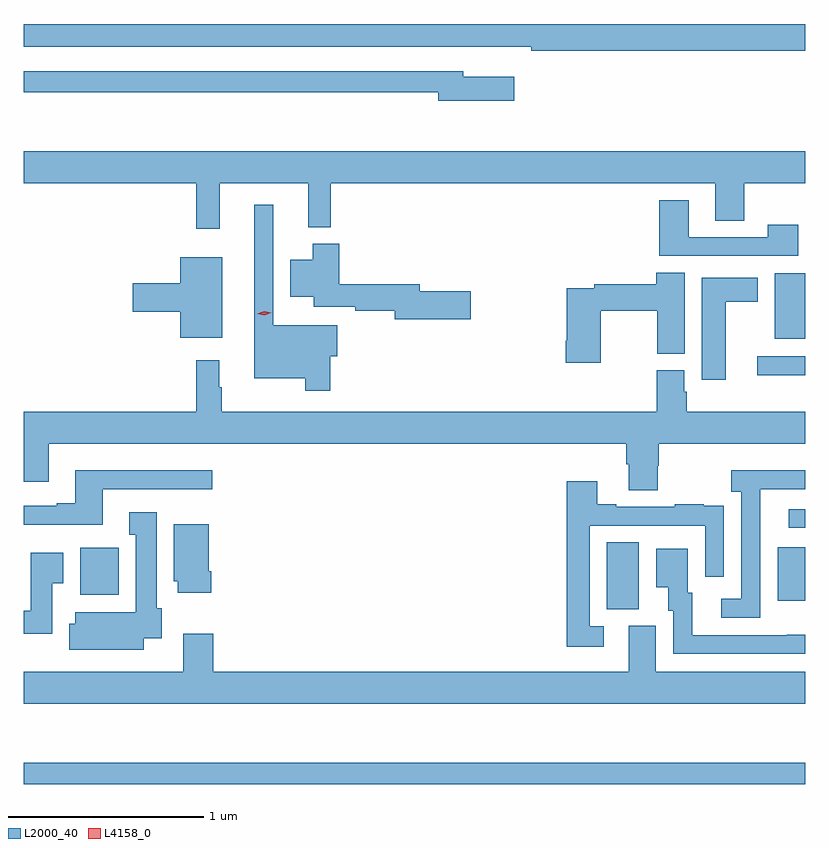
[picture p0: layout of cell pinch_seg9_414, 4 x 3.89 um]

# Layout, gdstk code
import gdstk
lib = gdstk.Library(unit=1e-6, precision=1e-09)
def R(c, l, rs):  # rectangles x0, y0, x1, y1
    for r in rs: c.add(gdstk.rectangle(r[:2], r[2:], *l))
def P(c, l, *ps):  # polygons
    for p in ps: c.add(gdstk.Polygon(p, *l))
L2000_40 = (2000, 40)
L4158_0 = (4158, 0)

pinch_seg9_414 = lib.new_cell('pinch_seg9_414')
R(pinch_seg9_414, L2000_40, [(217.835,1221.318,221.835,1221.427), (220.82,1222.213,220.984,1222.556), (221.693,1222.257,221.835,1222.531), (218.123,1222.286,218.32,1222.528), (221.751,1222.629,221.835,1222.725), (221.589,1223.411,221.835,1223.508), (221.678,1223.597,221.835,1223.932)])
P(pinch_seg9_414, L2000_40, [(221.835,1225.208),(217.835,1225.208),(217.835,1225.092),(220.18,1225.092),(220.18,1225.091),(220.432,1225.091),(220.432,1225.072),(221.835,1225.072)],
  [(220.345,1224.937),(220.084,1224.937),(220.084,1224.966),(217.835,1224.966),(217.835,1224.858),(219.956,1224.858),(219.956,1224.815),(220.345,1224.815)],
  [(218.837,1224.392),(219.29,1224.392),(219.29,1224.167),(219.407,1224.167),(219.407,1224.392),(221.375,1224.392),(221.375,1224.202),(221.523,1224.202),(221.523,1224.392),(221.835,1224.392),(221.835,1224.556),(217.835,1224.556),(217.835,1224.392),(218.719,1224.392),(218.719,1224.159),(218.837,1224.159)],
  [(221.8,1224.181),(221.644,1224.181),(221.644,1224.117),(221.239,1224.117),(221.239,1224.307),(221.087,1224.307),(221.087,1224.021),(221.8,1224.021)],
  [(219.404,1223.507),(219.439,1223.507),(219.439,1223.665),(219.111,1223.665),(219.111,1224.283),(219.014,1224.283),(219.014,1223.396),(219.276,1223.396),(219.276,1223.331),(219.404,1223.331)],
  [(220.123,1223.84),(219.862,1223.84),(219.862,1223.876),(219.449,1223.876),(219.449,1224.082),(219.314,1224.082),(219.314,1224.001),(219.2,1224.001),(219.2,1223.813),(219.32,1223.813),(219.32,1223.76),(219.532,1223.76),(219.532,1223.74),(219.734,1223.74),(219.734,1223.698),(220.123,1223.698)],
  [(218.851,1224.013),(218.636,1224.013),(218.636,1223.882),(218.394,1223.882),(218.394,1223.735),(218.636,1223.735),(218.636,1223.603),(218.851,1223.603)],
  [(220.788,1223.74),(221.077,1223.74),(221.077,1223.521),(221.218,1223.521),(221.218,1223.936),(221.072,1223.936),(221.072,1223.876),(220.756,1223.876),(220.756,1223.856),(220.615,1223.856),(220.615,1223.587),(220.61,1223.587),(220.61,1223.475),(220.788,1223.475)],
  [(221.428,1223.786),(221.593,1223.786),(221.593,1223.908),(221.306,1223.908),(221.306,1223.388),(221.428,1223.388)],
  [(221.079,1222.947),(221.084,1222.947),(221.084,1223.06),(221.835,1223.06),(221.835,1223.224),(221.228,1223.224),(221.228,1223.325),(221.215,1223.325),(221.215,1223.436),(221.075,1223.436),(221.075,1223.224),(218.848,1223.224),(218.848,1223.348),(218.836,1223.348),(218.836,1223.488),(218.719,1223.488),(218.719,1223.224),(217.835,1223.224),(217.835,1222.866),(217.963,1222.866),(217.963,1223.06),(220.919,1223.06),(220.919,1222.954),(220.931,1222.954),(220.931,1222.822),(221.079,1222.822)],
  [(221.604,1222.627),(221.605,1222.627),(221.605,1222.827),(221.835,1222.827),(221.835,1222.924),(221.457,1222.924),(221.457,1222.814),(221.508,1222.814),(221.508,1222.266),(221.406,1222.266),(221.406,1222.17),(221.604,1222.17)],
  [(218.239,1222.827),(218.8,1222.827),(218.8,1222.924),(218.099,1222.924),(218.099,1222.756),(218.003,1222.756),(218.003,1222.743),(217.835,1222.743),(217.835,1222.646),(218.239,1222.646)],
  [(220.804,1222.125),(220.731,1222.125),(220.731,1222.641),(221.322,1222.641),(221.322,1222.38),(221.418,1222.38),(221.418,1222.634),(221.417,1222.634),(221.417,1222.743),(221.315,1222.743),(221.315,1222.75),(221.167,1222.75),(221.167,1222.737),(220.867,1222.737),(220.867,1222.75),(220.771,1222.75),(220.771,1222.867),(220.615,1222.867),(220.615,1222.02),(220.804,1222.02)],
  [(218.449,1222.064),(218.542,1222.064),(218.542,1222.218),(218.515,1222.218),(218.515,1222.708),(218.375,1222.708),(218.375,1222.595),(218.408,1222.595),(218.408,1222.198),(218.099,1222.198),(218.099,1222.139),(218.069,1222.139),(218.069,1222.004),(218.449,1222.004)],
  [(218.795,1222.408),(218.782,1222.408),(218.782,1222.648),(218.603,1222.648),(218.603,1222.356),(218.624,1222.356),(218.624,1222.296),(218.795,1222.296)],
  [(221.835,1222.081),(221.741,1222.081),(221.741,1222.08),(221.257,1222.08),(221.257,1222.296),(221.233,1222.296),(221.233,1222.522),(221.072,1222.522),(221.072,1222.325),(221.135,1222.325),(221.135,1222.206),(221.16,1222.206),(221.16,1221.984),(221.835,1221.984)],
  [(217.981,1222.345),(218.038,1222.345),(218.038,1222.501),(217.871,1222.501),(217.871,1222.204),(217.835,1222.204),(217.835,1222.086),(217.981,1222.086)],
  [(221.835,1221.892),(221.071,1221.892),(221.071,1222.128),(220.931,1222.128),(220.931,1221.892),(218.804,1221.892),(218.804,1222.087),(218.651,1222.087),(218.651,1221.892),(217.835,1221.892),(217.835,1221.728),(221.835,1221.728)])
P(pinch_seg9_414, L4158_0, [(219.066,1223.717),(219.03,1223.725),(219.03,1223.725),(219.03,1223.725),(219.065,1223.737),(219.101,1223.729),(219.101,1223.729),(219.101,1223.729)])

lib.write_gds('pinch_seg9_414.gds')
